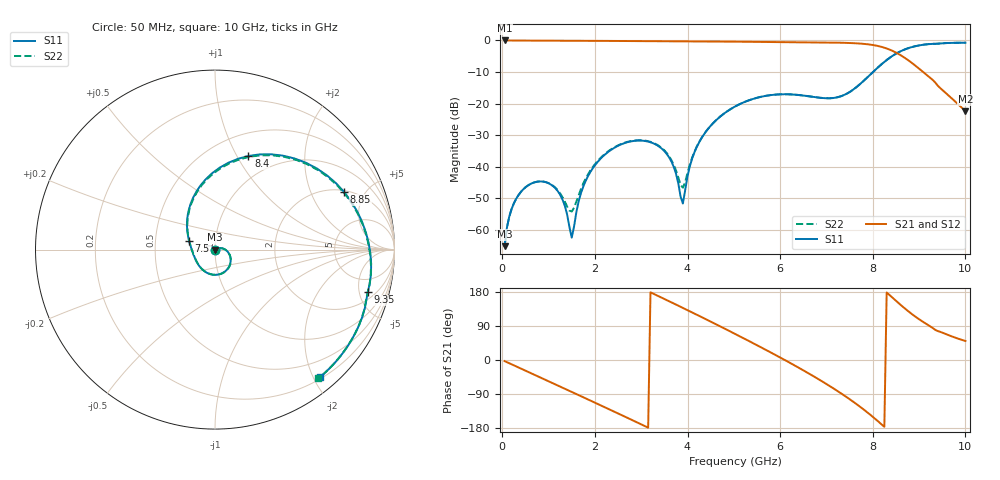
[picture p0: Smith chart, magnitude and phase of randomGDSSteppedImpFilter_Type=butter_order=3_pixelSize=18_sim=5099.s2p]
! freq	dB(S11)	phase(S11)	dB(S12)	phase(S12)
!  dB(S21)	phase(S21)	dB(S22)	phase(S22)
!S-par simulation data
#  GHz  S  DB  R 50
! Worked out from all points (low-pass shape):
!   200 points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, 50 MHz to 10 GHz, reference 50 ohm
!   highest |S21| = -0.01 dB at 50 MHz (marker M1); lowest = -22.4 dB at 10 GHz (marker M2)
!   |S21| within 3 dB of the highest: start of sweep to 8.38 GHz
!   lowest |S11| = -65.2 dB at 50 MHz (marker M3), VSWR 1.00, Z = 50 - j0.0547 ohm
!   |S11| at or under -10 dB: start of sweep to 8.006 GHz
!   |S22| runs from -65.2 to -0.7 dB; largest |S21 - S12| = 0
!   S11 on the Smith chart (normalised r, x): 50 MHz: 1.00, -0.00; 7.5 GHz: 0.74, +0.07; 8.4 GHz: 0.74, +1.12; 8.85 GHz: 2.09, +3.53; 9.35 GHz: 2.81, -6.05; 10 GHz: 0.23, -2.10
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0.05  -65.17 -82.7  -0.01 -2.9  -0.01 -2.9  -65.18 -82.8
0.2  -53.43 -98.9  -0.03 -11.3  -0.03 -11.3  -53.45 -99.6
0.5  -46.53 -117.7  -0.05 -28.1  -0.05 -28.1  -46.54 -119.7
1.15  -46.89 -159.1  -0.08 -64.6  -0.08 -64.6  -46.70 -168.7
1.5  -62.48 100.2  -0.10 -84.3  -0.10 -84.3  -54.20 96.5
1.75  -46.26 3.3  -0.11 -98.4  -0.11 -98.4  -45.29 19.6
2.5  -33.38 -47.0  -0.17 -141.0  -0.17 -141.0  -33.24 -40.6
3.4  -33.77 -97.4  -0.24 166.9  -0.24 166.9  -33.59 -90.3
3.7  -39.96 -107.4  -0.26 149.3  -0.26 149.3  -39.31 -95.1
3.9  -51.67 -30.9  -0.28 137.4  -0.28 137.4  -46.65 -35.6
4.05  -39.84 23.9  -0.29 128.5  -0.29 128.5  -39.30 14.4
4.25  -32.29 20.4  -0.31 116.5  -0.31 116.5  -32.20 17.1
5.05  -20.75 -23.4  -0.39 67.4  -0.39 67.4  -20.73 -22.9
5.95  -17.11 -79.3  -0.51 9.9  -0.51 9.9  -17.10 -78.0
6.7  -17.86 -130.9  -0.59 -41.4  -0.59 -41.4  -17.86 -129.2
7.5  -16.34 161.3  -0.81 -103.4  -0.81 -103.4  -16.36 161.3
8  -10.08 113.0  -1.44 -149.9  -1.44 -149.9  -10.08 111.9
8.35  -5.65 75.8  -2.82 172.7  -2.82 172.7  -5.65 74.7
8.4  -5.13 70.4  -3.13 167.2  -3.13 167.2  -5.13 69.2
8.85  -2.07 24.0  -7.19 120.7  -7.19 120.7  -2.07 23.0
9.35  -1.08 -15.6  -13.35 79.4  -13.35 79.4  -1.07 -16.4
10  -0.72 -50.6  -22.39 50.2  -22.39 50.2  -0.72 -51.3
